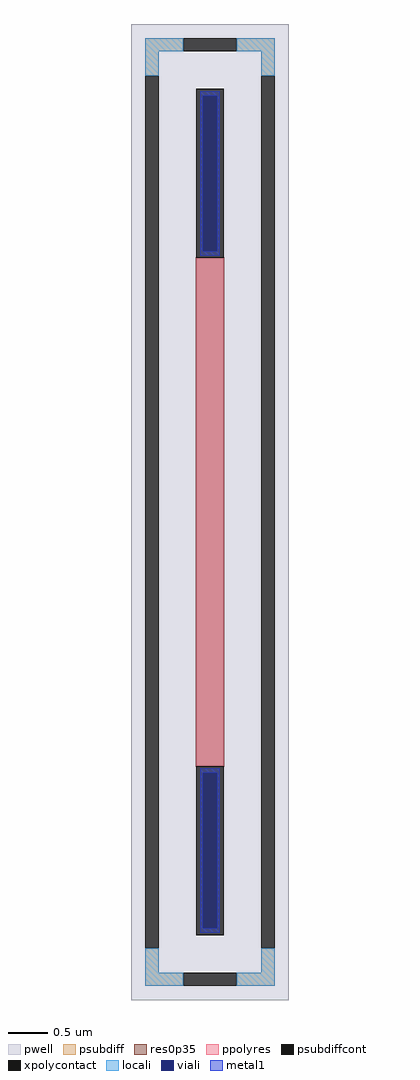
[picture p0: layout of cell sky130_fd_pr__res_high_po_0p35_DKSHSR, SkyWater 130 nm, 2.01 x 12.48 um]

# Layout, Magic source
magic
tech sky130A
magscale 1 2
<< pwell >>
rect -201 -1248 201 1248
<< psubdiff >>
rect -165 1178 -69 1212
rect 69 1178 165 1212
rect -165 1116 -131 1178
rect 131 1116 165 1178
rect -165 -1178 -131 -1116
rect 131 -1178 165 -1116
rect -165 -1212 -69 -1178
rect 69 -1212 165 -1178
<< psubdiffcont >>
rect -69 1178 69 1212
rect -165 -1116 -131 1116
rect 131 -1116 165 1116
rect -69 -1212 69 -1178
<< xpolycontact >>
rect -35 650 35 1082
rect -35 -1082 35 -650
<< ppolyres >>
rect -35 -650 35 650
<< locali >>
rect -165 1178 -69 1212
rect 69 1178 165 1212
rect -165 1116 -131 1178
rect 131 1116 165 1178
rect -165 -1178 -131 -1116
rect 131 -1178 165 -1116
rect -165 -1212 -69 -1178
rect 69 -1212 165 -1178
<< viali >>
rect -19 667 19 1064
rect -19 -1064 19 -667
<< metal1 >>
rect -25 1064 25 1076
rect -25 667 -19 1064
rect 19 667 25 1064
rect -25 655 25 667
rect -25 -667 25 -655
rect -25 -1064 -19 -667
rect 19 -1064 25 -667
rect -25 -1076 25 -1064
<< res0p35 >>
rect -37 -652 37 652
<< properties >>
string FIXED_BBOX -148 -1195 148 1195
string gencell sky130_fd_pr__res_high_po_0p35
string library sky130
string parameters w 0.350 l 6.5 m 1 nx 1 wmin 0.350 lmin 0.50 rho 319.8 val 6.048k dummy 0 dw 0.0 term 19.188 sterm 0.0 caplen 0 guard 1 glc 1 grc 1 gtc 1 gbc 1 compatible {sky130_fd_pr__res_high_po_0p35  sky130_fd_pr__res_high_po_0p69 sky130_fd_pr__res_high_po_1p41  sky130_fd_pr__res_high_po_2p85 sky130_fd_pr__res_high_po_5p73} full_metal 1 wmax 0.350 vias 1 n_guard 0 hv_guard 0 viagb 0 viagt 0 viagl 0 viagr 0
<< end >>
